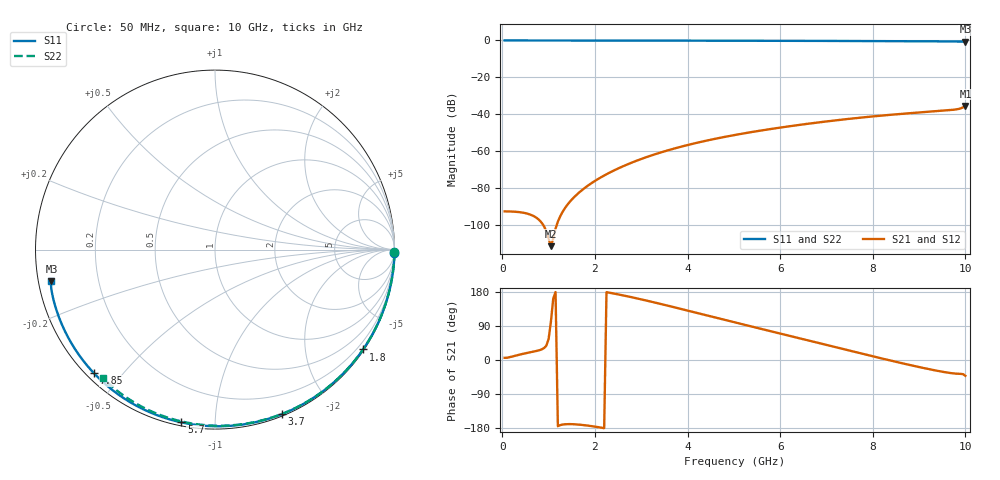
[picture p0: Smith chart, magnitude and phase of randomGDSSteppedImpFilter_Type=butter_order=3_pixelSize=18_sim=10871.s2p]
! freq	dB(S11)	phase(S11)	dB(S12)	phase(S12)
!  dB(S21)	phase(S21)	dB(S22)	phase(S22)
!S-par simulation data
#  GHz  S  DB  R 50
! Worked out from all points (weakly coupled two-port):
!   200 points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, 50 MHz to 10 GHz, reference 50 ohm
!   highest |S21| = -35.56 dB at 10 GHz (marker M1); lowest = -111.7 dB at 1.05 GHz (marker M2)
!   lowest |S11| = -0.6 dB at 10 GHz (marker M3), VSWR 26.92, Z = 1.87 - j4.79 ohm
!   |S11| at or under -10 dB: nowhere
!   |S22| runs from -0.4 to 0.0 dB; largest |S21 - S12| = 0
!   S11 on the Smith chart (normalised r, x): 50 MHz: open; 1.8 GHz: 0.03, -3.27; 3.7 GHz: 0.02, -1.48; 5.7 GHz: 0.02, -0.82; 7.85 GHz: 0.02, -0.42; 10 GHz: 0.04, -0.10
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0.05  -0.00 -1.0  -92.84 5.8  -92.84 5.8  -0.00 -0.8
0.55  -0.01 -10.6  -94.13 19.0  -94.13 19.0  -0.01 -8.3
1.05  -0.02 -20.0  -111.73 101.2  -111.73 101.2  -0.02 -15.8
1.75  -0.04 -33.1  -80.70 -171.7  -80.70 -171.7  -0.03 -26.2
1.8  -0.04 -34.0  -79.74 -172.4  -79.74 -172.4  -0.03 -26.9
2.1  -0.05 -39.5  -74.77 -177.7  -74.77 -177.7  -0.04 -31.3
2.5  -0.06 -46.8  -69.55 173.2  -69.55 173.2  -0.05 -37.0
2.9  -0.07 -53.9  -65.32 162.8  -65.32 162.8  -0.06 -42.8
3.4  -0.08 -62.7  -61.00 148.5  -61.00 148.5  -0.07 -49.8
3.7  -0.09 -67.9  -58.78 139.6  -58.78 139.6  -0.07 -54.0
4.35  -0.11 -79.0  -54.74 119.8  -54.74 119.8  -0.09 -62.8
5.05  -0.14 -90.5  -51.21 98.4  -51.21 98.4  -0.11 -72.1
5.7  -0.17 -101.0  -48.47 78.8  -48.47 78.8  -0.13 -80.4
6.2  -0.20 -108.9  -46.61 63.8  -46.61 63.8  -0.16 -86.7
6.7  -0.23 -116.7  -44.92 48.8  -44.92 48.8  -0.18 -92.9
7.25  -0.27 -125.3  -43.24 32.2  -43.24 32.2  -0.21 -99.5
7.85  -0.32 -134.5  -41.63 14.2  -41.63 14.2  -0.25 -106.6
8.35  -0.37 -142.3  -40.45 -0.5  -40.45 -0.5  -0.29 -112.5
9.05  -0.44 -153.3  -39.02 -19.9  -39.02 -19.9  -0.35 -120.5
9.75  -0.54 -164.9  -37.62 -35.5  -37.62 -35.5  -0.42 -128.4
9.9  -0.58 -167.5  -36.89 -36.6  -36.89 -36.6  -0.43 -130.0
10  -0.65 -169.0  -35.56 -41.7  -35.56 -41.7  -0.44 -131.1
